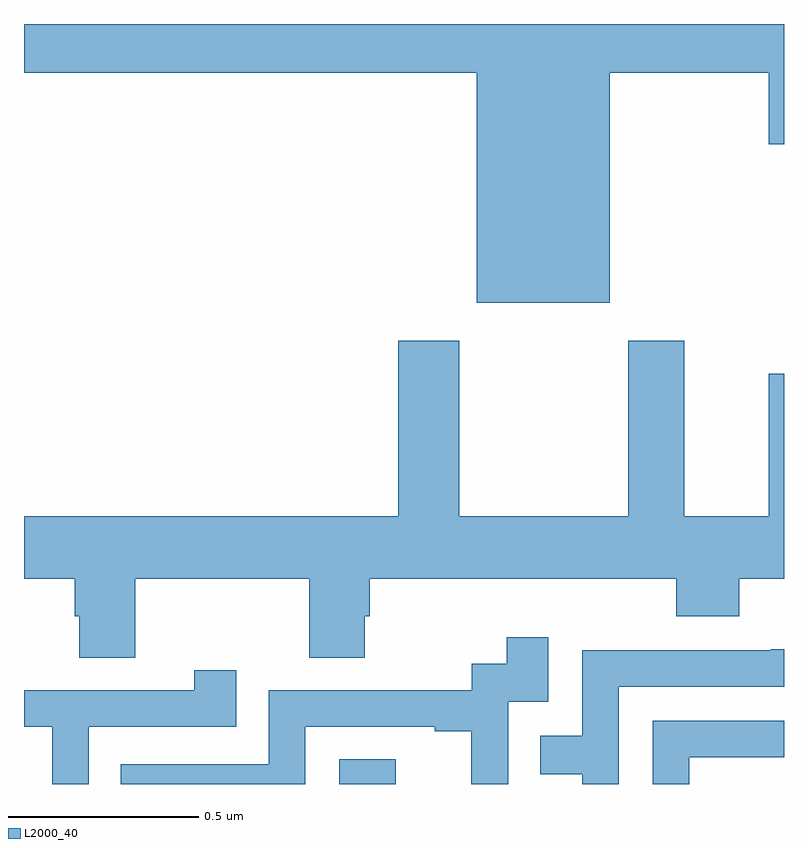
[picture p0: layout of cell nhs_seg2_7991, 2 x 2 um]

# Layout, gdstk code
import gdstk
lib = gdstk.Library(unit=1e-6, precision=1e-09)
def R(c, l, rs):  # rectangles x0, y0, x1, y1
    for r in rs: c.add(gdstk.rectangle(r[:2], r[2:], *l))
def P(c, l, *ps):  # polygons
    for p in ps: c.add(gdstk.Polygon(p, *l))
L2000_40 = (2000, 40)

nhs_seg2_7991 = lib.new_cell('nhs_seg2_7991')
R(nhs_seg2_7991, L2000_40, [(211.83,609.8,211.978,609.865)])
P(nhs_seg2_7991, L2000_40, [(212.542,611.672),(212.96,611.672),(212.96,611.484),(213,611.484),(213,611.8),(211,611.8),(211,611.672),(212.192,611.672),(212.192,611.066),(212.542,611.066)],
  [(211.293,610.34),(211.75,610.34),(211.75,610.132),(211.897,610.132),(211.897,610.242),(211.91,610.242),(211.91,610.34),(212.717,610.34),(212.717,610.241),(212.882,610.241),(212.882,610.34),(213,610.34),(213,610.879),(212.96,610.879),(212.96,610.504),(212.737,610.504),(212.737,610.966),(212.59,610.966),(212.59,610.504),(212.145,610.504),(212.145,610.966),(211.985,610.966),(211.985,610.504),(211,610.504),(211,610.34),(211.133,610.34),(211.133,610.242),(211.145,610.242),(211.145,610.132),(211.293,610.132)],
  [(211.74,609.951),(212.081,609.951),(212.081,609.939),(212.177,609.939),(212.177,609.8),(212.274,609.8),(212.274,610.017),(212.379,610.017),(212.379,610.186),(212.271,610.186),(212.271,610.116),(212.178,610.116),(212.178,610.047),(211.644,610.047),(211.644,609.852),(211.255,609.852),(211.255,609.8),(211.74,609.8)],
  [(212.565,610.056),(213,610.056),(213,610.154),(212.965,610.154),(212.965,610.152),(212.469,610.152),(212.469,609.927),(212.359,609.927),(212.359,609.826),(212.469,609.826),(212.469,609.8),(212.565,609.8)],
  [(211.17,609.951),(211.559,609.951),(211.559,610.099),(211.448,610.099),(211.448,610.047),(211,610.047),(211,609.951),(211.074,609.951),(211.074,609.8),(211.17,609.8)],
  [(212.751,609.87),(213,609.87),(213,609.966),(212.655,609.966),(212.655,609.8),(212.751,609.8)])

lib.write_gds('nhs_seg2_7991.gds')
